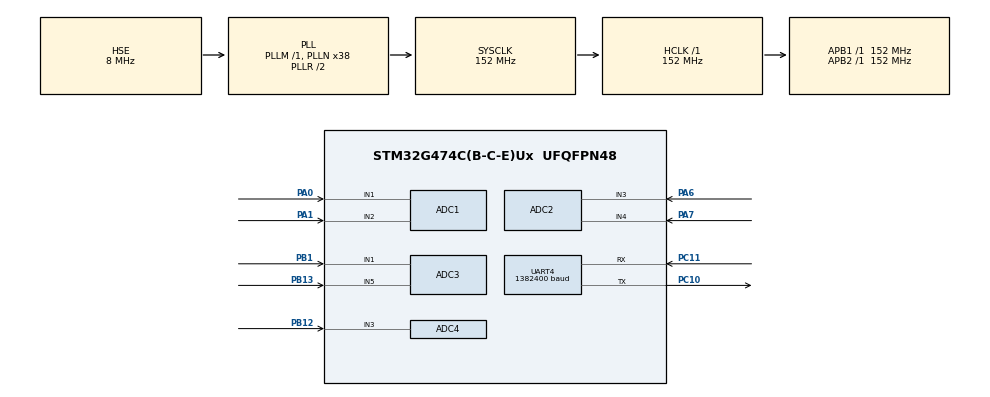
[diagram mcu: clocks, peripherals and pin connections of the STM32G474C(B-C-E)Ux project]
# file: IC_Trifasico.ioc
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ADC1.Channel-0\#ChannelRegularConversion=ADC_CHANNEL_1
ADC1.Channel-1\#ChannelRegularConversion=ADC_CHANNEL_2
ADC1.DMAContinuousRequests=ENABLE
ADC1.ExternalTrigConv=ADC_EXTERNALTRIG_T1_TRGO
ADC1.NbrOfConversion=2
ADC1.NbrOfConversionFlag=1
ADC1.OffsetNumber-0\#ChannelRegularConversion=ADC_OFFSET_NONE
ADC1.OffsetNumber-1\#ChannelRegularConversion=ADC_OFFSET_NONE
ADC1.Rank-0\#ChannelRegularConversion=1
ADC1.Rank-1\#ChannelRegularConversion=2
ADC1.SamplingTime-0\#ChannelRegularConversion=ADC_SAMPLETIME_24CYCLES_5
ADC1.SamplingTime-1\#ChannelRegularConversion=ADC_SAMPLETIME_24CYCLES_5
ADC1.master=1
ADC2.Channel-0\#ChannelRegularConversion=ADC_CHANNEL_3
ADC2.Channel-1\#ChannelRegularConversion=ADC_CHANNEL_4
ADC2.DMAContinuousRequests=ENABLE
ADC2.ExternalTrigConv=ADC_EXTERNALTRIG_T1_TRGO
ADC2.NbrOfConversion=2
ADC2.NbrOfConversionFlag=1
ADC2.OffsetNumber-0\#ChannelRegularConversion=ADC_OFFSET_NONE
ADC2.OffsetNumber-1\#ChannelRegularConversion=ADC_OFFSET_NONE
ADC2.Rank-0\#ChannelRegularConversion=1
ADC2.Rank-1\#ChannelRegularConversion=2
ADC2.SamplingTime-0\#ChannelRegularConversion=ADC_SAMPLETIME_24CYCLES_5
ADC2.SamplingTime-1\#ChannelRegularConversion=ADC_SAMPLETIME_24CYCLES_5
ADC3.Channel-0\#ChannelRegularConversion=ADC_CHANNEL_1
ADC3.Channel-1\#ChannelRegularConversion=ADC_CHANNEL_5
ADC3.DMAContinuousRequests=ENABLE
ADC3.ExternalTrigConv=ADC_EXTERNALTRIG_T1_TRGO
ADC3.NbrOfConversion=2
ADC3.NbrOfConversionFlag=1
ADC3.OffsetNumber-0\#ChannelRegularConversion=ADC_OFFSET_NONE
ADC3.OffsetNumber-1\#ChannelRegularConversion=ADC_OFFSET_NONE
ADC3.Rank-0\#ChannelRegularConversion=1
ADC3.Rank-1\#ChannelRegularConversion=2
ADC3.SamplingTime-0\#ChannelRegularConversion=ADC_SAMPLETIME_24CYCLES_5
ADC3.SamplingTime-1\#ChannelRegularConversion=ADC_SAMPLETIME_24CYCLES_5
ADC3.master=1
ADC4.Channel-0\#ChannelRegularConversion=ADC_CHANNEL_3
ADC4.DMAContinuousRequests=ENABLE
ADC4.ExternalTrigConv=ADC_EXTERNALTRIG_T1_TRGO
ADC4.NbrOfConversionFlag=1
ADC4.OffsetNumber-0\#ChannelRegularConversion=ADC_OFFSET_NONE
ADC4.Rank-0\#ChannelRegularConversion=1
ADC4.SamplingTime-0\#ChannelRegularConversion=ADC_SAMPLETIME_2CYCLES_5
Dma.ADC1.1.Direction=DMA_PERIPH_TO_MEMORY
Dma.ADC1.1.EventEnable=DISABLE
Dma.ADC1.1.Instance=DMA1_Channel2
Dma.ADC1.1.MemDataAlignment=DMA_MDATAALIGN_HALFWORD
Dma.ADC1.1.MemInc=DMA_MINC_ENABLE
Dma.ADC1.1.Mode=DMA_CIRCULAR
Dma.ADC1.1.PeriphDataAlignment=DMA_PDATAALIGN_HALFWORD
Dma.ADC1.1.PeriphInc=DMA_PINC_DISABLE
Dma.ADC1.1.Polarity=HAL_DMAMUX_REQ_GEN_RISING
Dma.ADC1.1.Priority=DMA_PRIORITY_HIGH
Dma.ADC1.1.RequestNumber=1
Dma.ADC1.1.SignalID=NONE
Dma.ADC1.1.SyncEnable=DISABLE
Dma.ADC1.1.SyncPolarity=HAL_DMAMUX_SYNC_NO_EVENT
Dma.ADC1.1.SyncRequestNumber=1
Dma.ADC1.1.SyncSignalID=NONE
Dma.ADC2.2.Direction=DMA_PERIPH_TO_MEMORY
Dma.ADC2.2.EventEnable=DISABLE
Dma.ADC2.2.Instance=DMA1_Channel3
Dma.ADC2.2.MemDataAlignment=DMA_MDATAALIGN_HALFWORD
Dma.ADC2.2.MemInc=DMA_MINC_ENABLE
Dma.ADC2.2.Mode=DMA_CIRCULAR
Dma.ADC2.2.PeriphDataAlignment=DMA_PDATAALIGN_HALFWORD
Dma.ADC2.2.PeriphInc=DMA_PINC_DISABLE
Dma.ADC2.2.Polarity=HAL_DMAMUX_REQ_GEN_RISING
Dma.ADC2.2.Priority=DMA_PRIORITY_HIGH
Dma.ADC2.2.RequestNumber=1
Dma.ADC2.2.SignalID=NONE
Dma.ADC2.2.SyncEnable=DISABLE
Dma.ADC2.2.SyncPolarity=HAL_DMAMUX_SYNC_NO_EVENT
Dma.ADC2.2.SyncRequestNumber=1
Dma.ADC2.2.SyncSignalID=NONE
Dma.ADC3.0.Direction=DMA_PERIPH_TO_MEMORY
Dma.ADC3.0.EventEnable=DISABLE
Dma.ADC3.0.Instance=DMA1_Channel1
Dma.ADC3.0.MemDataAlignment=DMA_MDATAALIGN_HALFWORD
Dma.ADC3.0.MemInc=DMA_MINC_ENABLE
Dma.ADC3.0.Mode=DMA_CIRCULAR
Dma.ADC3.0.PeriphDataAlignment=DMA_PDATAALIGN_HALFWORD
Dma.ADC3.0.PeriphInc=DMA_PINC_DISABLE
Dma.ADC3.0.Polarity=HAL_DMAMUX_REQ_GEN_RISING
Dma.ADC3.0.Priority=DMA_PRIORITY_HIGH
Dma.ADC3.0.RequestNumber=1
Dma.ADC3.0.SignalID=NONE
Dma.ADC3.0.SyncEnable=DISABLE
Dma.ADC3.0.SyncPolarity=HAL_DMAMUX_SYNC_NO_EVENT
Dma.ADC3.0.SyncRequestNumber=1
Dma.ADC3.0.SyncSignalID=NONE
Dma.ADC4.3.Direction=DMA_PERIPH_TO_MEMORY
Dma.ADC4.3.EventEnable=DISABLE
Dma.ADC4.3.Instance=DMA1_Channel4
Dma.ADC4.3.MemDataAlignment=DMA_MDATAALIGN_HALFWORD
Dma.ADC4.3.MemInc=DMA_MINC_ENABLE
Dma.ADC4.3.Mode=DMA_CIRCULAR
Dma.ADC4.3.PeriphDataAlignment=DMA_PDATAALIGN_HALFWORD
Dma.ADC4.3.PeriphInc=DMA_PINC_DISABLE
Dma.ADC4.3.Polarity=HAL_DMAMUX_REQ_GEN_RISING
Dma.ADC4.3.Priority=DMA_PRIORITY_HIGH
Dma.ADC4.3.RequestNumber=1
Dma.ADC4.3.SignalID=NONE
Dma.ADC4.3.SyncEnable=DISABLE
Dma.ADC4.3.SyncPolarity=HAL_DMAMUX_SYNC_NO_EVENT
Dma.ADC4.3.SyncRequestNumber=1
Dma.ADC4.3.SyncSignalID=NONE
Dma.Request0=ADC3
Dma.Request1=ADC1
Dma.Request2=ADC2
Dma.Request3=ADC4
Dma.Request4=UART4_TX
Dma.UART4_TX.4.Direction=DMA_MEMORY_TO_PERIPH
Dma.UART4_TX.4.EventEnable=DISABLE
Dma.UART4_TX.4.Instance=DMA2_Channel1
Dma.UART4_TX.4.MemDataAlignment=DMA_MDATAALIGN_BYTE
Dma.UART4_TX.4.MemInc=DMA_MINC_ENABLE
Dma.UART4_TX.4.Mode=DMA_CIRCULAR
Dma.UART4_TX.4.PeriphDataAlignment=DMA_PDATAALIGN_BYTE
Dma.UART4_TX.4.PeriphInc=DMA_PINC_DISABLE
Dma.UART4_TX.4.Polarity=HAL_DMAMUX_REQ_GEN_RISING
Dma.UART4_TX.4.Priority=DMA_PRIORITY_VERY_HIGH
Dma.UART4_TX.4.RequestNumber=1
Dma.UART4_TX.4.SignalID=NONE
Dma.UART4_TX.4.SyncEnable=DISABLE
Dma.UART4_TX.4.SyncPolarity=HAL_DMAMUX_SYNC_NO_EVENT
Dma.UART4_TX.4.SyncRequestNumber=1
Dma.UART4_TX.4.SyncSignalID=NONE
Mcu.Family=STM32G4
Mcu.Name=STM32G474C(B-C-E)Ux
Mcu.Package=UFQFPN48
NVIC.DMA1_Channel1_IRQn=true\:0\:0\:false\:false\:true\:false\:true\:true
NVIC.DMA1_Channel2_IRQn=true\:0\:0\:false\:false\:true\:false\:true\:true
NVIC.DMA1_Channel3_IRQn=true\:0\:0\:false\:false\:true\:false\:true\:true
NVIC.DMA1_Channel4_IRQn=true\:0\:0\:false\:false\:true\:false\:true\:true
NVIC.DMA2_Channel1_IRQn=true\:0\:0\:false\:false\:true\:false\:true\:true
NVIC.PriorityGroup=NVIC_PRIORITYGROUP_4
PA0.Mode=IN1-Single-Ended
PA0.Signal=ADC1_IN1
PA1.Mode=IN2-Single-Ended
PA1.Signal=ADC1_IN2
PA6.Mode=IN3-Single-Ended
PA6.Signal=ADC2_IN3
PA7.Mode=IN4-Single-Ended
PA7.Signal=ADC2_IN4
PB1.Mode=IN1-Single-Ended
PB1.Signal=ADC3_IN1
PB12.Mode=IN3-Single-Ended
PB12.Signal=ADC4_IN3
PB13.Mode=IN5-Single-Ended
PB13.Signal=ADC3_IN5
PC10.GPIO_Speed=GPIO_SPEED_FREQ_VERY_HIGH
PC10.Mode=Asynchronous
PC10.Signal=UART4_TX
PC11.Mode=Asynchronous
PC11.Signal=UART4_RX
PF0-OSC_IN.Mode=HSE-External-Oscillator
PF0-OSC_IN.Signal=RCC_OSC_IN
PF1-OSC_OUT.Mode=HSE-External-Oscillator
PF1-OSC_OUT.Signal=RCC_OSC_OUT
ProjectManager.HeapSize=0x200
ProjectManager.StackSize=0x400
ProjectManager.TargetToolchain=CMake
RCC.ADC12Freq_Value=152000000
RCC.ADC345Freq_Value=152000000
RCC.AHBFreq_Value=152000000
RCC.APB1Freq_Value=152000000
RCC.APB1TimFreq_Value=152000000
RCC.APB2Freq_Value=152000000
RCC.APB2TimFreq_Value=152000000
RCC.CortexFreq_Value=152000000
RCC.EXTERNAL_CLOCK_VALUE=12288000
RCC.HCLKFreq_Value=152000000
RCC.HSE_VALUE=8000000
RCC.HSI48_VALUE=48000000
RCC.HSI_VALUE=16000000
RCC.LSE_VALUE=32768
RCC.PLLN=38
RCC.PLLSourceVirtual=RCC_PLLSOURCE_HSE
RCC.SYSCLKFreq_VALUE=152000000
RCC.SYSCLKSource=RCC_SYSCLKSOURCE_PLLCLK
RCC.USBFreq_Value=152000000
RCC.VCOOutputFreq_Value=304000000
TIM1.TIM_MasterOutputTrigger=TIM_TRGO_UPDATE
TIM1.TIM_MasterSlaveMode=TIM_MASTERSLAVEMODE_DISABLE
UART4.BaudRate=1382400
VP_CORDIC_VS_CORDIC.Mode=CORDIC_Activate
VP_SYS_VS_DBSignals.Mode=DisableDeadBatterySignals
VP_TIM1_VS_ClockSourceINT.Mode=Internal
board=custom

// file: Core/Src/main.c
/* USER CODE BEGIN Header */
/**
  ******************************************************************************
  * @file           : main.c
  * @brief          : Main program body - Optimized Version
  ******************************************************************************
  * OPTIMIZATION NOTES:
  * - Consolidated redundant timestamp variables into unified tracking
  * - Created configuration tables for ADC management to reduce code duplication
  * - Unified ADC callback processing with single function handling all instances
  * - Consolidated error handling with table-driven approach
  * - Simplified frequency and phase calculation logic
  * - Reduced repetitive ADC initialization and monitoring code
  ******************************************************************************
  * @attention
  *
  * Copyright (c) 2025 STMicroelectronics.
  * All rights reserved.
  *
  * This software is licensed under terms that can be found in the LICENSE file
  * in the root directory of this software component.
  * If no LICENSE file comes with this software, it is provided AS-IS.
  *
  ******************************************************************************
  */
/* USER CODE END Header */
#include "main.h"

/* USER CODE BEGIN Includes */
#include <string.h>
#include <math.h>
#include <stdbool.h>
#include <stdio.h>
/* USER CODE END Includes */

/* USER CODE BEGIN PD */

#define TWO_PI_F  6.28318530718f
#define FS_F      7680.0f     // sampling rate (Hz)
#define F0_HZ     60.0f       // nominal line frequency (Hz)
/* USER CODE END PD */

/* USER CODE BEGIN PM */
// --- Defines para buffers e filas ---
#define FS_HZ               7680u
#define CYCLE_SAMPLES       128u          // 1 ciclo @ 60 Hz
#define IEC12C_SAMPLES      1536u         // 12 ciclos (IEC 200 ms)
#define DMA_TRIG_HALF       128u          // amostras por meia-interrupt de DMA
#define FRAME_BYTES         250
#define TXQ_SLOTS           96            // 96*250 = 24.0 kB buffer (ajuste se quiser)

typedef enum { CH_VA=0, CH_VB, CH_VC, CH_IA, CH_IB, CH_IC, CH_IN, CH_COUNT } acq_channel_t;
// Buffers DMA intercalados por ADC (half x2, canais x N)
static uint16_t adc1_dma[2 * 2 * DMA_TRIG_HALF]; // ADC1: Va, Ia
static uint16_t adc2_dma[2 * 2 * DMA_TRIG_HALF]; // ADC2: Vb, Ib
static uint16_t adc3_dma[2 * 2 * DMA_TRIG_HALF]; // ADC3: Vc, Ic
static uint16_t adc4_dma[2 * 1 * DMA_TRIG_HALF]; // ADC4: In

static volatile uint32_t adc1_cb_count = 0;
static volatile uint32_t adc2_cb_count = 0;
static volatile uint32_t adc3_cb_count = 0;
static volatile uint32_t adc4_cb_count = 0;

typedef struct {
  uint16_t cycle[CYCLE_SAMPLES];
  uint16_t iec12[IEC12C_SAMPLES];
  uint16_t i_cycle, i_iec;
  uint32_t seq_cycle, seq_iec12;
} acq_buf_t;
static acq_buf_t chbuf[CH_COUNT];

// Fila de transmissão UART4 DMA (frames de 200 B)
static uint8_t  txq[TXQ_SLOTS][FRAME_BYTES];
static volatile uint16_t tx_head=0, tx_tail=0;
static volatile uint8_t  tx_dma_busy=0;

// Different headers for different data types and channels
static const uint8_t HDR_CYCLE_VA[2] = {0xAA, 0x01}; // Voltage A - 1 cycle data
static const uint8_t HDR_CYCLE_VB[2] = {0xAA, 0x02}; // Voltage B - 1 cycle data
static const uint8_t HDR_CYCLE_VC[2] = {0xAA, 0x03}; // Voltage C - 1 cycle data
static const uint8_t HDR_CYCLE_IA[2] = {0xAA, 0x11}; // Current A - 1 cycle data
static const uint8_t HDR_CYCLE_IB[2] = {0xAA, 0x12}; // Current B - 1 cycle data
static const uint8_t HDR_CYCLE_IC[2] = {0xAA, 0x13}; // Current C - 1 cycle data
static const uint8_t HDR_CYCLE_IN[2] = {0xAA, 0x1F}; // Neutral current - 1 cycle data
static const uint8_t HDR_IEC12[2]    = {0xAA, 0xFF}; // IEC 12-cycle data
static const uint8_t HDR_DEBUG[2]    = {0xAA, 0x00}; // Debug/status messages
static const uint8_t HDR_FREQ_INFO[2] = {0xAA, 0xF0}; // Frequency and timing info

static uint16_t seq16[CH_COUNT] = {0}; // todos os elementos inicializados com zero

// Unified timestamp tracking - removed redundant variables
static volatile uint32_t sample_tick = 0;           // Global sample counter (main reference)
static volatile uint32_t cycle_start_sample = 0;    // Sample when cycle starts
static volatile uint8_t  tick_overflow = 0;         // Overflow flag
static uint16_t freq_info_seq = 0;                  // Frequency info sequence

/* USER CODE END PM */

ADC_HandleTypeDef hadc1;
ADC_HandleTypeDef hadc2;
ADC_HandleTypeDef hadc3;
ADC_HandleTypeDef hadc4;
DMA_HandleTypeDef hdma_adc1;
DMA_HandleTypeDef hdma_adc2;
DMA_HandleTypeDef hdma_adc3;
DMA_HandleTypeDef hdma_adc4;

CORDIC_HandleTypeDef hcordic;

TIM_HandleTypeDef htim1;

UART_HandleTypeDef huart4;
DMA_HandleTypeDef hdma_uart4_tx;

void SystemClock_Config(void);
static void MX_GPIO_Init(void);
static void MX_DMA_Init(void);
static void MX_ADC3_Init(void);
static void MX_CORDIC_Init(void);
static void MX_TIM1_Init(void);
static void MX_ADC1_Init(void);
static void MX_ADC2_Init(void);
static void MX_ADC4_Init(void);
static void MX_UART4_Init(void);
/* USER CODE BEGIN PFP */

void TIM1_Config_TRGO_7680Hz(void);   // reconfigure TIM1 to 7.68 kHz TRGO

// PLL API
typedef struct {
  float kp, ki;
  float phase;        // [0, 2π)
  float omega;        // rad/sample
  float omega_nom;    // 2π * f0 / Fs
  float integ;        // integrator state
  float e_filt;       // LPF of phase detector
  float beta;         // LPF coeff ~ 2π*BW/Fs
  float omega_min;    // clamp
  float omega_max;    // clamp
} pll_t;

void pll_init(pll_t* p, float fs, float f0, float kp, float ki, float loop_bw_hz, float freq_pct);
bool pll_step(pll_t* p, float v_norm, float* out_phase);

// helpers
static inline float pll_inst_freq_hz(const pll_t* p) { return (p->omega * FS_F) / TWO_PI_F; }

// --- ADC → volts, then to per-unit (±1 if full-scale) ---
#define ADC_FULLSCALE_COUNTS 4095.0f
#define VREF_F                3.3f
#define VMID_F                1.65f      // calibrate per channel if needed

static inline float adc12_to_volts(uint16_t raw12) {
    return ( (float)raw12 * (VREF_F / ADC_FULLSCALE_COUNTS) );
}

// If you have a better measured mid-rail (per channel), pass it in instead of VMID_F
static inline float volts_to_norm(float v, float v_mid) {
    return (v - v_mid) / v_mid;          // full-scale sine → ~±1
}

// Drop-in replacement for your current helper
static inline float adc12_to_norm(uint16_t raw12) {
    const float v = adc12_to_volts(raw12);
    return volts_to_norm(v, VMID_F);
}
/* USER CODE END PFP */

/* USER CODE BEGIN 0 */
/* ===== CORDIC sine using Q31 ===== */
extern CORDIC_HandleTypeDef hcordic;

static inline float wrap_2pi(float x){
  if (x >= TWO_PI_F) x -= TWO_PI_F;
  if (x <  0.0f)     x += TWO_PI_F;
  return x;
}

static inline float cordic_sin(float angle_rad)
{
  float a = angle_rad;
  if (a >  (float)M_PI) a -= TWO_PI_F;
  if (a <= -(float)M_PI) a += TWO_PI_F;

  int32_t in_q31  = (int32_t)(a * (2147483648.0f / (float)M_PI)); // rad * 2^31/π
  int32_t out_q31 = 0;
  HAL_CORDIC_Calculate(&hcordic, &in_q31, &out_q31, 1, 1);
  return ((float)out_q31) / 2147483648.0f; // ~[-1,1)
}

// You already have cordic_sin(); this gives cos via a +π/2 shift
static inline float cordic_cos(float angle_rad){
  return cordic_sin(angle_rad + (float)M_PI_2);
}

/* ===== PLL implementation ===== */
// fs [Hz], f0 [Hz], kp/ki per-sample gains,
// loop_bw_hz ~ 10..30 for grids, freq_pct e.g. 0.08 (=±8%)
void pll_init(pll_t* p, float fs, float f0, float kp, float ki,
              float loop_bw_hz, float freq_pct)
{
  p->kp = kp; p->ki = ki;
  p->phase = 0.0f;
  p->integ = 0.0f;
  p->e_filt = 0.0f;
  p->omega_nom = TWO_PI_F * (f0 / fs);
  p->omega     = p->omega_nom;
  p->beta      = (float)(2.0 * M_PI) * (loop_bw_hz / fs);  // IIR LPF coeff
  if (p->beta > 0.5f) p->beta = 0.5f;                      // sanity
  float wspan  = p->omega_nom * freq_pct;
  p->omega_min = p->omega_nom - wspan;
  p->omega_max = p->omega_nom + wspan;
}

// returns true on wrap (new cycle)
bool pll_step(pll_t* p, float v_norm, float* out_phase)
{
  float prev = p->phase;

  // Proper synchronous detector (quadrature): e ≈ sin(phase_error)
  float e  = v_norm * cordic_cos(p->phase);

  // LPF the mixer output to remove double-frequency term
  p->e_filt += p->beta * (e - p->e_filt);

  // PI + anti-windup
  p->integ += p->e_filt;
  // clamp integrator (units of "e", not rad)
  if (p->integ >  9.2f) p->integ =  9.2f;
  if (p->integ < -9.2f) p->integ = -9.2f;

  // frequency correction
  p->omega = p->omega_nom + p->kp * p->e_filt + p->ki * p->integ;
  if (p->omega > p->omega_max) p->omega = p->omega_max;
  if (p->omega < p->omega_min) p->omega = p->omega_min;

  // integrate phase
  p->phase = wrap_2pi(p->phase + p->omega);

  if (out_phase) *out_phase = p->phase;
  return (p->phase < prev);
}

/* ===== Global PLLs (debug-visible) ===== */
pll_t pllA;   // use with VA
pll_t pllB;   // use with VB
pll_t pllC;   // use with VC

/* ===== TIM1 → TRGO @ 7.68 kHz =====
   Rebuilds TIM1 with ~1 MHz tick (easy ARR) and TRGO=UPDATE */
void TIM1_Config_TRGO_7680Hz(void)
{
  RCC_ClkInitTypeDef clk_cfg; uint32_t flash_lat;
  HAL_RCC_GetClockConfig(&clk_cfg, &flash_lat);

  // TIM1 is on APB2; timer clock doubles when APB2 prescaler != 1
  uint32_t pclk2  = HAL_RCC_GetPCLK2Freq();
  uint32_t timclk = (clk_cfg.APB2CLKDivider == RCC_HCLK_DIV1) ? pclk2 : (pclk2 * 2U);

  const uint32_t target_tick = 1000000UL; // 1 MHz
  uint32_t psc  = (timclk + target_tick - 1U) / target_tick;
  if (psc == 0U) psc = 1U;
  uint32_t tick = timclk / psc;

  const uint32_t FS = 7680U;
  uint32_t arr = (uint32_t)((tick + (FS/2U)) / FS);
  if (arr < 1U) arr = 1U;

  TIM_ClockConfigTypeDef  sClock = {0};
  TIM_MasterConfigTypeDef sM     = {0};

  htim1.Instance               = TIM1;
  htim1.Init.Prescaler         = (uint16_t)(psc  - 1U);
  htim1.Init.CounterMode       = TIM_COUNTERMODE_UP;
  htim1.Init.Period            = (uint32_t)(arr  - 1U);
  htim1.Init.ClockDivision     = TIM_CLOCKDIVISION_DIV1;
  htim1.Init.RepetitionCounter = 0;
  htim1.Init.AutoReloadPreload = TIM_AUTORELOAD_PRELOAD_ENABLE;
  if (HAL_TIM_Base_Init(&htim1) != HAL_OK) { Error_Handler(); }

  sClock.ClockSource = TIM_CLOCKSOURCE_INTERNAL;
  if (HAL_TIM_ConfigClockSource(&htim1, &sClock) != HAL_OK) { Error_Handler(); }

  sM.MasterOutputTrigger  = TIM_TRGO_UPDATE;
  sM.MasterOutputTrigger2 = TIM_TRGO2_RESET;
  sM.MasterSlaveMode      = TIM_MASTERSLAVEMODE_DISABLE;
  if (HAL_TIMEx_MasterConfigSynchronization(&htim1, &sM) != HAL_OK) { Error_Handler(); }
}

static inline void pack12_2in3(uint16_t a, uint16_t b, uint8_t* dst3)
{
  a &= 0x0FFFu; b &= 0x0FFFu;
  dst3[0] = (uint8_t)(a >> 4);
  dst3[1] = (uint8_t)((a & 0x0Fu) << 4) | (uint8_t)(b >> 8);
  dst3[2] = (uint8_t)(b & 0xFFu);
}

static inline uint16_t crc16_ccitt(const uint8_t* data, uint16_t len)
{
  uint16_t crc = 0xFFFFu;
  for (uint16_t i = 0; i < len; i++) {
    crc ^= (uint16_t)data[i] << 8;
    for (uint8_t b = 0; b < 8; b++)
      crc = (crc & 0x8000u) ? (uint16_t)((crc << 1) ^ 0x1021u) : (uint16_t)(crc << 1);
  }
  return crc;
}

/* ---- Ring buffer TX UART4 DMA ---- */
extern UART_HandleTypeDef huart4;
static inline uint16_t _inc16(uint16_t x){ return (uint16_t)((x+1u) % TXQ_SLOTS); }
static inline uint8_t  _empty(void){ return tx_head==tx_tail; }
static inline uint8_t  _full(void){ return _inc16(tx_head)==tx_tail; }

static void TX_Kick(void)
{
  __disable_irq();
  if (tx_dma_busy || _empty()) {
    __enable_irq();
    return;
  }
  tx_dma_busy = 1;
  __enable_irq();
  (void)HAL_UART_Transmit_DMA(&huart4, txq[tx_tail], FRAME_BYTES);
}
static void TX_Init(void) { tx_head = tx_tail = 0; tx_dma_busy = 0; }
static uint8_t TX_Push(const uint8_t frame[FRAME_BYTES])
{
  uint8_t ret = 0;
  __disable_irq();
  uint16_t nxt = _inc16(tx_head);
  if (nxt != tx_tail) {
    memcpy(txq[tx_head], frame, FRAME_BYTES);
    tx_head = nxt;
    ret = 1;
  }
  __enable_irq();
  TX_Kick();
  return ret;
}
static void TX_Pump(void) { TX_Kick(); }

// Helper function to get the correct header for each channel type
static const uint8_t* get_channel_header(acq_channel_t ch) {
  switch (ch) {
    case CH_VA: return HDR_CYCLE_VA;
    case CH_VB: return HDR_CYCLE_VB;
    case CH_VC: return HDR_CYCLE_VC;
    case CH_IA: return HDR_CYCLE_IA;
    case CH_IB: return HDR_CYCLE_IB;
    case CH_IC: return HDR_CYCLE_IC;
    case CH_IN: return HDR_CYCLE_IN;
    default:    return HDR_DEBUG;
  }
}

// Pack 32-bit value into 4 bytes (little-endian)
static inline void pack32(uint32_t val, uint8_t* dst) {
  dst[0] = (uint8_t)(val & 0xFF);
  dst[1] = (uint8_t)((val >> 8) & 0xFF);
  dst[2] = (uint8_t)((val >> 16) & 0xFF);
  dst[3] = (uint8_t)((val >> 24) & 0xFF);
}

// Pack float as 32-bit IEEE754 (little-endian)
static inline void pack_float(float val, uint8_t* dst) {
  union { float f; uint32_t u; } conv = { .f = val };
  pack32(conv.u, dst);
}

// Send frequency and timing information frame
static void send_freq_info(void) {
  uint8_t frame[FRAME_BYTES];
  uint16_t pos = 0;

  // Header
  frame[pos++] = HDR_FREQ_INFO[0];
  frame[pos++] = HDR_FREQ_INFO[1];

  // Current sample tick (4 bytes) - for synchronization
  pack32(sample_tick, &frame[pos]); pos += 4;

  // Overflow status (1 byte)
  frame[pos++] = tick_overflow;

  // Frequency measurements from all 3 PLLs (3 × 4 bytes = 12 bytes)
  pack_float(pll_inst_freq_hz(&pllA), &frame[pos]); pos += 4;
  pack_float(pll_inst_freq_hz(&pllB), &frame[pos]); pos += 4;
  pack_float(pll_inst_freq_hz(&pllC), &frame[pos]); pos += 4;

  // PLL phase information (3 × 4 bytes = 12 bytes)
  pack_float(pllA.phase, &frame[pos]); pos += 4;
  pack_float(pllB.phase, &frame[pos]); pos += 4;
  pack_float(pllC.phase, &frame[pos]); pos += 4;

  // Timestamp information (2 × 4 bytes = 8 bytes) - simplified
  pack32(sample_tick, &frame[pos]); pos += 4;
  pack32(cycle_start_sample, &frame[pos]); pos += 4;
  pack32(HAL_GetTick(), &frame[pos]); pos += 4; // System tick (ms)

  // ADC callback counts for diagnostics (4 × 4 bytes = 16 bytes)
  pack32(adc1_cb_count, &frame[pos]); pos += 4;
  pack32(adc2_cb_count, &frame[pos]); pos += 4;
  pack32(adc3_cb_count, &frame[pos]); pos += 4;
  pack32(adc4_cb_count, &frame[pos]); pos += 4;

  // Fill remaining space with system status info
  while (pos < FRAME_BYTES - 6) {
    frame[pos++] = 0x00; // Reserved for future use
  }

  // Sequence number
  frame[pos++] = (uint8_t)(freq_info_seq & 0xFF);
  frame[pos++] = (uint8_t)(freq_info_seq >> 8);
  freq_info_seq++;

  // Channel ID and reserved
  frame[pos++] = 0xF0; // Special ID for frequency info
  frame[pos++] = 0x00; // Reserved

  // CRC
  uint16_t crc = crc16_ccitt(frame, pos);
  frame[pos++] = (uint8_t)(crc >> 8);
  frame[pos++] = (uint8_t)(crc & 0xFF);

  if (pos == FRAME_BYTES) (void)TX_Push(frame);
}

/* ---- Aquisição ---- */
extern ADC_HandleTypeDef hadc1, hadc2, hadc3, hadc4;
extern TIM_HandleTypeDef htim1;

static inline void push_sample(acq_channel_t ch, uint16_t s, uint8_t advance_tick)
{
  acq_buf_t* b = &chbuf[ch];
  s &= 0x0FFFu;

  // Advance global tick only once per TIM1 trigger (not per channel)
  if (advance_tick) {
    uint32_t prev = sample_tick;
    sample_tick++;
    if (sample_tick == 0 && prev == 0xFFFFFFFFu) tick_overflow = 1;
  }

  // Step the PLL only on voltage channels
  if (ch == CH_VA) {
    float v = adc12_to_norm(s);
    (void)pll_step(&pllA, v, NULL);
  } else if (ch == CH_VB) {
    float v = adc12_to_norm(s);
    (void)pll_step(&pllB, v, NULL);
  } else if (ch == CH_VC) {
    float v = adc12_to_norm(s);
    (void)pll_step(&pllC, v, NULL);
  }

  // Janela de 1 ciclo (128)
  b->cycle[b->i_cycle++] = s;
  if (b->i_cycle >= CYCLE_SAMPLES) {
    b->i_cycle = 0; b->seq_cycle++;

    // Record sample number when cycle starts
    cycle_start_sample = sample_tick;

    // Monta frame 250 B deste canal e envia com header específico do canal
    uint8_t frame[FRAME_BYTES]; uint16_t pos=0;
    const uint8_t* hdr = get_channel_header(ch);
    frame[pos++] = hdr[0]; frame[pos++] = hdr[1];

    // Pack sample number at cycle start (4 bytes) - primary identifier
    pack32(cycle_start_sample, &frame[pos]); pos += 4;

    // Pack overflow flag (1 byte) - critical synchronization info
    frame[pos++] = tick_overflow;
    if (tick_overflow) {
      tick_overflow = 0; // Clear flag after including in frame
    }

    // Pack timestamp for synchronization (4 bytes)
    pack32(cycle_start_sample, &frame[pos]); pos += 4;

    // Pack all 128 samples (128 samples = 192 bytes when packed 2-in-3)
    for (uint16_t i = 0; i < CYCLE_SAMPLES; i += 2) {
      pack12_2in3(b->cycle[i], b->cycle[i+1], &frame[pos]); pos += 3;
    }

    // Get frequency for this channel
    float channel_freq;
    if (ch == CH_VA) {
      channel_freq = pll_inst_freq_hz(&pllA);
    } else if (ch == CH_VB) {
      channel_freq = pll_inst_freq_hz(&pllB);
    } else if (ch == CH_VC) {
      channel_freq = pll_inst_freq_hz(&pllC);
    } else {
      // For current channels, use average frequency
      channel_freq = (pll_inst_freq_hz(&pllA) + pll_inst_freq_hz(&pllB) + pll_inst_freq_hz(&pllC)) / 3.0f;
    }
    pack_float(channel_freq, &frame[pos]); pos += 4;

    // Add phase information (4 bytes)
    float channel_phase = 0.0f;
    if (ch == CH_VA) channel_phase = pllA.phase;
    else if (ch == CH_VB) channel_phase = pllB.phase;
    else if (ch == CH_VC) channel_phase = pllC.phase;
    pack_float(channel_phase, &frame[pos]); pos += 4;

    // Fill remaining space before footer
    while (pos < FRAME_BYTES - 6) {
      frame[pos++] = 0x00; // Reserved for future use
    }

    uint16_t sseq = seq16[ch]++;
    frame[pos++] = (uint8_t)(sseq & 0xFF);
    frame[pos++] = (uint8_t)(sseq >> 8);
    frame[pos++] = (uint8_t)ch; // Channel ID in reserved byte
    frame[pos++] = 0x00; // reserved
    uint16_t crc = crc16_ccitt(frame, pos);
    frame[pos++] = (uint8_t)(crc >> 8);
    frame[pos++] = (uint8_t)(crc & 0xFF);
    if (pos == FRAME_BYTES) (void)TX_Push(frame);

    // Send frequency info every 10 cycles (roughly every 167ms at 60Hz)
    static uint16_t freq_counter = 0;
    if (ch == CH_VA && (++freq_counter >= 10)) {
      freq_counter = 0;
      send_freq_info();
    }
  }

  // Janela IEC (12 ciclos, 1536) — opcional: use no PC
  b->iec12[b->i_iec++] = s;
  if (b->i_iec >= IEC12C_SAMPLES) {
    b->i_iec = 0; b->seq_iec12++;
    // poderia sinalizar aqui se quiser exportar blocos de 200 ms
  }
}

static void demux_block(const uint16_t* blk, uint16_t samples_per_half,
                        const acq_channel_t* map, uint8_t nmap)
{
  for (uint16_t i = 0; i < samples_per_half; i++) {
    // Advance tick with first channel only (once per sampling instant)
    push_sample(map[0], blk[i*nmap + 0], 1);
    // Process remaining channels without advancing tick
    for (uint8_t k = 1; k < nmap; k++) {
      push_sample(map[k], blk[i*nmap + k], 0);
    }
  }
}
/* USER CODE END 0 */

int main(void)
{

  /* MCU Configuration--------------------------------------------------------*/

  /* Reset of all peripherals, Initializes the Flash interface and the Systick. */
  HAL_Init();

  /* Configure the system clock */
  SystemClock_Config();

  /* Initialize all configured peripherals */
  MX_GPIO_Init();
  MX_DMA_Init();
  MX_ADC3_Init();
  MX_CORDIC_Init();
  MX_TIM1_Init();
  MX_ADC1_Init();
  MX_ADC2_Init();
  MX_ADC4_Init();
  MX_UART4_Init();
  /* USER CODE BEGIN 2 */

  // Calibrate all ADCs in a loop
  ADC_HandleTypeDef* adcs[] = {&hadc1, &hadc2, &hadc3, &hadc4};
  for (int i = 0; i < 4; i++) {
    HAL_ADCEx_Calibration_Start(adcs[i], ADC_SINGLE_ENDED);
  }

  // Reconfigure TIM1 to exact 7.68 kHz TRGO (overrides CubeMX defaults)
  TIM1_Config_TRGO_7680Hz();

  // Inicia fila TX
  TX_Init();

  // Send a simple test message first to verify UART is working
  uint8_t test_msg[] = "UART4 Test - STM32 Starting...\r\n";
  HAL_UART_Transmit(&huart4, test_msg, sizeof(test_msg)-1, 1000);

  // Start the trigger timer first
  HAL_TIM_Base_Start(&htim1);

  // Start ADC DMAs with unified configuration
  HAL_StatusTypeDef adc_status[4];
  const uint16_t dma_sizes[] = {2u * 2u * DMA_TRIG_HALF, 2u * 2u * DMA_TRIG_HALF,
                                2u * 2u * DMA_TRIG_HALF, 2u * 1u * DMA_TRIG_HALF};
  uint32_t* dma_buffers[] = {(uint32_t*)adc1_dma, (uint32_t*)adc2_dma,
                             (uint32_t*)adc3_dma, (uint32_t*)adc4_dma};

  for (int i = 0; i < 4; i++) {
    adc_status[i] = HAL_ADC_Start_DMA(adcs[i], dma_buffers[i], dma_sizes[i]);
  }

  // Send unified debug info
  uint8_t debug_msg[120];
  sprintf((char*)debug_msg, "ADC Start Status: 1=%d 2=%d 3=%d 4=%d\r\n",
          adc_status[0], adc_status[1], adc_status[2], adc_status[3]);
  HAL_UART_Transmit(&huart4, debug_msg, strlen((char*)debug_msg), 1000);

  // Also send ADC register status for debugging
  sprintf((char*)debug_msg, "ADC1_CFGR=0x%08lX ADC2_CFGR=0x%08lX\r\n", ADC1->CFGR, ADC2->CFGR);
  HAL_UART_Transmit(&huart4, debug_msg, strlen((char*)debug_msg), 1000);
  sprintf((char*)debug_msg, "ADC3_CFGR=0x%08lX ADC4_CFGR=0x%08lX\r\n", ADC3->CFGR, ADC4->CFGR);
  HAL_UART_Transmit(&huart4, debug_msg, strlen((char*)debug_msg), 1000);

  // Init the three PLLs (visible in debugger; you can tweak kp/ki live)
  // Start conservative; you can increase kp a bit if lock is sluggish
  const float KP = 0.023137f;      // proportional (per-sample)
  const float KI = 0.00026773f;   // integral (per-sample)
  const float BW = 20.0f;        // loop LPF bandwidth [Hz]
  const float FPCT = 0.08f;      // allow ±8% freq excursion

  pll_init(&pllA, FS_F, F0_HZ, KP, KI, BW, FPCT);
  pll_init(&pllB, FS_F, F0_HZ, KP, KI, BW, FPCT);
  pll_init(&pllC, FS_F, F0_HZ, KP, KI, BW, FPCT);

  // Test manual software trigger to see which ADCs respond
  HAL_Delay(1000);  // Wait a bit
  uint8_t test_trigger[] = "Testing software triggers...\r\n";
  HAL_UART_Transmit(&huart4, test_trigger, strlen((char*)test_trigger), 1000);

  // Reset counters

  // Manual software trigger test (simplified)
  for (int i = 0; i < 4; i++) {
    HAL_ADC_Start(adcs[i]);
    HAL_ADC_PollForConversion(adcs[i], 100);
    HAL_ADC_Stop(adcs[i]);
  }

  sprintf((char*)debug_msg, "Manual test - ADC values: 1=%d 2=%d 3=%d 4=%d\r\n",
          (int)HAL_ADC_GetValue(&hadc1), (int)HAL_ADC_GetValue(&hadc2),
          (int)HAL_ADC_GetValue(&hadc3), (int)HAL_ADC_GetValue(&hadc4));
  HAL_UART_Transmit(&huart4, debug_msg, strlen((char*)debug_msg), 1000);

  /* USER CODE END 2 */

  /* Infinite loop */
  /* USER CODE BEGIN WHILE */
  static uint32_t heartbeat = 0;
  static uint32_t last_counts[4] = {0};
  volatile uint32_t* cb_counts[] = {&adc1_cb_count, &adc2_cb_count, &adc3_cb_count, &adc4_cb_count};

  while (1)
  {
    /* USER CODE END WHILE */

    /* USER CODE BEGIN 3 */

    // Monitor ADC activity and restart if stopped
    if (++heartbeat >= 500000) {  // Check every ~0.5 seconds
      heartbeat = 0;

      // Check if any ADC counters have stopped incrementing
      uint8_t adc_stuck = 0;
      for (int i = 0; i < 4; i++) {
        if (*cb_counts[i] == last_counts[i]) adc_stuck |= (1 << i);
      }

      // Send status message
      uint8_t status_msg[150];
      sprintf((char*)status_msg, "ADC Status: 1=%lu 2=%lu 3=%lu 4=%lu Stuck=0x%02X\r\n",
              *cb_counts[0], *cb_counts[1], *cb_counts[2], *cb_counts[3], adc_stuck);
      HAL_UART_Transmit(&huart4, status_msg, strlen((char*)status_msg), 1000);

      // If any ADC is stuck, try to recover
      if (adc_stuck) {
        uint8_t recovery_msg[] = "ADC Recovery: Restarting stuck ADCs...\r\n";
        HAL_UART_Transmit(&huart4, recovery_msg, sizeof(recovery_msg)-1, 1000);

        // Restart stuck ADCs
        for (int i = 0; i < 4; i++) {
          if (adc_stuck & (1 << i)) {
            HAL_ADC_Stop_DMA(adcs[i]);
            HAL_Delay(10);
            HAL_ADC_Start_DMA(adcs[i], dma_buffers[i], dma_sizes[i]);
          }
        }
      }

      // Update last counts for next check
      for (int i = 0; i < 4; i++) {
        last_counts[i] = *cb_counts[i];
      }
    }

    // Keep TX running
    TX_Pump();

  }
  /* USER CODE END 3 */
}

void SystemClock_Config(void)
{
  RCC_OscInitTypeDef RCC_OscInitStruct = {0};
  RCC_ClkInitTypeDef RCC_ClkInitStruct = {0};

  /** Configure the main internal regulator output voltage
  */
  HAL_PWREx_ControlVoltageScaling(PWR_REGULATOR_VOLTAGE_SCALE1_BOOST);

  /** Initializes the RCC Oscillators according to the specified parameters
  * in the RCC_OscInitTypeDef structure.
  */
  RCC_OscInitStruct.OscillatorType = RCC_OSCILLATORTYPE_HSE;
  RCC_OscInitStruct.HSEState = RCC_HSE_ON;
  RCC_OscInitStruct.PLL.PLLState = RCC_PLL_ON;
  RCC_OscInitStruct.PLL.PLLSource = RCC_PLLSOURCE_HSE;
  RCC_OscInitStruct.PLL.PLLM = RCC_PLLM_DIV1;
  RCC_OscInitStruct.PLL.PLLN = 38;
  RCC_OscInitStruct.PLL.PLLP = RCC_PLLP_DIV2;
  RCC_OscInitStruct.PLL.PLLQ = RCC_PLLQ_DIV2;
  RCC_OscInitStruct.PLL.PLLR = RCC_PLLR_DIV2;
  if (HAL_RCC_OscConfig(&RCC_OscInitStruct) != HAL_OK)
  {
    Error_Handler();
  }

  /** Initializes the CPU, AHB and APB buses clocks
  */
  RCC_ClkInitStruct.ClockType = RCC_CLOCKTYPE_HCLK|RCC_CLOCKTYPE_SYSCLK
                              |RCC_CLOCKTYPE_PCLK1|RCC_CLOCKTYPE_PCLK2;
  RCC_ClkInitStruct.SYSCLKSource = RCC_SYSCLKSOURCE_PLLCLK;
  RCC_ClkInitStruct.AHBCLKDivider = RCC_SYSCLK_DIV1;
  RCC_ClkInitStruct.APB1CLKDivider = RCC_HCLK_DIV1;
  RCC_ClkInitStruct.APB2CLKDivider = RCC_HCLK_DIV1;

  if (HAL_RCC_ClockConfig(&RCC_ClkInitStruct, FLASH_LATENCY_4) != HAL_OK)
  {
    Error_Handler();
  }
}

static void MX_ADC1_Init(void)
{

  ADC_MultiModeTypeDef multimode = {0};
  ADC_ChannelConfTypeDef sConfig = {0};

  /** Common config
  */
  hadc1.Instance = ADC1;
  hadc1.Init.ClockPrescaler = ADC_CLOCK_SYNC_PCLK_DIV4;
  hadc1.Init.Resolution = ADC_RESOLUTION_12B;
  hadc1.Init.DataAlign = ADC_DATAALIGN_RIGHT;
  hadc1.Init.GainCompensation = 0;
  hadc1.Init.ScanConvMode = ADC_SCAN_ENABLE;
  hadc1.Init.EOCSelection = ADC_EOC_SINGLE_CONV;
  hadc1.Init.LowPowerAutoWait = DISABLE;
  hadc1.Init.ContinuousConvMode = DISABLE;
  hadc1.Init.NbrOfConversion = 2;
  hadc1.Init.DiscontinuousConvMode = DISABLE;
  hadc1.Init.ExternalTrigConv = ADC_EXTERNALTRIG_T1_TRGO;
  hadc1.Init.ExternalTrigConvEdge = ADC_EXTERNALTRIGCONVEDGE_RISING;
  hadc1.Init.DMAContinuousRequests = ENABLE;
  hadc1.Init.Overrun = ADC_OVR_DATA_PRESERVED;
  hadc1.Init.OversamplingMode = DISABLE;
  if (HAL_ADC_Init(&hadc1) != HAL_OK)
  {
    Error_Handler();
  }

  /** Configure the ADC multi-mode
  */
  multimode.Mode = ADC_MODE_INDEPENDENT;
  if (HAL_ADCEx_MultiModeConfigChannel(&hadc1, &multimode) != HAL_OK)
  {
    Error_Handler();
  }

  /** Configure Regular Channel
  */
  sConfig.Channel = ADC_CHANNEL_1;
  sConfig.Rank = ADC_REGULAR_RANK_1;
  sConfig.SamplingTime = ADC_SAMPLETIME_24CYCLES_5;
  sConfig.SingleDiff = ADC_SINGLE_ENDED;
  sConfig.OffsetNumber = ADC_OFFSET_NONE;
  sConfig.Offset = 0;
  if (HAL_ADC_ConfigChannel(&hadc1, &sConfig) != HAL_OK)
  {
    Error_Handler();
  }

  /** Configure Regular Channel
  */
  sConfig.Channel = ADC_CHANNEL_2;
  sConfig.Rank = ADC_REGULAR_RANK_2;
  if (HAL_ADC_ConfigChannel(&hadc1, &sConfig) != HAL_OK)
  {
    Error_Handler();
  }

}

static void MX_ADC2_Init(void)
{

  ADC_ChannelConfTypeDef sConfig = {0};

  /** Common config
  */
  hadc2.Instance = ADC2;
  hadc2.Init.ClockPrescaler = ADC_CLOCK_SYNC_PCLK_DIV4;
  hadc2.Init.Resolution = ADC_RESOLUTION_12B;
  hadc2.Init.DataAlign = ADC_DATAALIGN_RIGHT;
  hadc2.Init.GainCompensation = 0;
  hadc2.Init.ScanConvMode = ADC_SCAN_ENABLE;
  hadc2.Init.EOCSelection = ADC_EOC_SINGLE_CONV;
  hadc2.Init.LowPowerAutoWait = DISABLE;
  hadc2.Init.ContinuousConvMode = DISABLE;
  hadc2.Init.NbrOfConversion = 2;
  hadc2.Init.DiscontinuousConvMode = DISABLE;
  hadc2.Init.ExternalTrigConv = ADC_EXTERNALTRIG_T1_TRGO;
  hadc2.Init.ExternalTrigConvEdge = ADC_EXTERNALTRIGCONVEDGE_RISING;
  hadc2.Init.DMAContinuousRequests = ENABLE;
  hadc2.Init.Overrun = ADC_OVR_DATA_PRESERVED;
  hadc2.Init.OversamplingMode = DISABLE;
  if (HAL_ADC_Init(&hadc2) != HAL_OK)
  {
    Error_Handler();
  }

  /** Configure Regular Channel
  */
  sConfig.Channel = ADC_CHANNEL_3;
  sConfig.Rank = ADC_REGULAR_RANK_1;
  sConfig.SamplingTime = ADC_SAMPLETIME_24CYCLES_5;
  sConfig.SingleDiff = ADC_SINGLE_ENDED;
  sConfig.OffsetNumber = ADC_OFFSET_NONE;
  sConfig.Offset = 0;
  if (HAL_ADC_ConfigChannel(&hadc2, &sConfig) != HAL_OK)
  {
    Error_Handler();
  }

  /** Configure Regular Channel
  */
  sConfig.Channel = ADC_CHANNEL_4;
  sConfig.Rank = ADC_REGULAR_RANK_2;
  if (HAL_ADC_ConfigChannel(&hadc2, &sConfig) != HAL_OK)
  {
    Error_Handler();
  }

}

static void MX_ADC3_Init(void)
{

  ADC_MultiModeTypeDef multimode = {0};
  ADC_ChannelConfTypeDef sConfig = {0};

  /** Common config
  */
  hadc3.Instance = ADC3;
  hadc3.Init.ClockPrescaler = ADC_CLOCK_SYNC_PCLK_DIV4;
  hadc3.Init.Resolution = ADC_RESOLUTION_12B;
  hadc3.Init.DataAlign = ADC_DATAALIGN_RIGHT;
  hadc3.Init.GainCompensation = 0;
  hadc3.Init.ScanConvMode = ADC_SCAN_ENABLE;
  hadc3.Init.EOCSelection = ADC_EOC_SINGLE_CONV;
  hadc3.Init.LowPowerAutoWait = DISABLE;
  hadc3.Init.ContinuousConvMode = DISABLE;
  hadc3.Init.NbrOfConversion = 2;
  hadc3.Init.DiscontinuousConvMode = DISABLE;
  hadc3.Init.ExternalTrigConv = ADC_EXTERNALTRIG_T1_TRGO;
  hadc3.Init.ExternalTrigConvEdge = ADC_EXTERNALTRIGCONVEDGE_RISING;
  hadc3.Init.DMAContinuousRequests = ENABLE;
  hadc3.Init.Overrun = ADC_OVR_DATA_PRESERVED;
  hadc3.Init.OversamplingMode = DISABLE;
  if (HAL_ADC_Init(&hadc3) != HAL_OK)
  {
    Error_Handler();
  }

  /** Configure the ADC multi-mode
  */
  multimode.Mode = ADC_MODE_INDEPENDENT;
  if (HAL_ADCEx_MultiModeConfigChannel(&hadc3, &multimode) != HAL_OK)
  {
    Error_Handler();
  }

  /** Configure Regular Channel
  */
  sConfig.Channel = ADC_CHANNEL_1;
  sConfig.Rank = ADC_REGULAR_RANK_1;
  sConfig.SamplingTime = ADC_SAMPLETIME_24CYCLES_5;
  sConfig.SingleDiff = ADC_SINGLE_ENDED;
  sConfig.OffsetNumber = ADC_OFFSET_NONE;
  sConfig.Offset = 0;
  if (HAL_ADC_ConfigChannel(&hadc3, &sConfig) != HAL_OK)
  {
    Error_Handler();
  }

  /** Configure Regular Channel
  */
  sConfig.Channel = ADC_CHANNEL_5;
  sConfig.Rank = ADC_REGULAR_RANK_2;
  if (HAL_ADC_ConfigChannel(&hadc3, &sConfig) != HAL_OK)
  {
    Error_Handler();
  }

}

static void MX_ADC4_Init(void)
{

  ADC_ChannelConfTypeDef sConfig = {0};

  /** Common config
  */
  hadc4.Instance = ADC4;
  hadc4.Init.ClockPrescaler = ADC_CLOCK_SYNC_PCLK_DIV4;
  hadc4.Init.Resolution = ADC_RESOLUTION_12B;
  hadc4.Init.DataAlign = ADC_DATAALIGN_RIGHT;
  hadc4.Init.GainCompensation = 0;
  hadc4.Init.ScanConvMode = ADC_SCAN_DISABLE;
  hadc4.Init.EOCSelection = ADC_EOC_SINGLE_CONV;
  hadc4.Init.LowPowerAutoWait = DISABLE;
  hadc4.Init.ContinuousConvMode = DISABLE;
  hadc4.Init.NbrOfConversion = 1;
  hadc4.Init.DiscontinuousConvMode = DISABLE;
  hadc4.Init.ExternalTrigConv = ADC_EXTERNALTRIG_T1_TRGO;
  hadc4.Init.ExternalTrigConvEdge = ADC_EXTERNALTRIGCONVEDGE_RISING;
  hadc4.Init.DMAContinuousRequests = ENABLE;
  hadc4.Init.Overrun = ADC_OVR_DATA_PRESERVED;
  hadc4.Init.OversamplingMode = DISABLE;
  if (HAL_ADC_Init(&hadc4) != HAL_OK)
  {
    Error_Handler();
  }

  /** Configure Regular Channel
  */
  sConfig.Channel = ADC_CHANNEL_3;
  sConfig.Rank = ADC_REGULAR_RANK_1;
  sConfig.SamplingTime = ADC_SAMPLETIME_2CYCLES_5;
  sConfig.SingleDiff = ADC_SINGLE_ENDED;
  sConfig.OffsetNumber = ADC_OFFSET_NONE;
  sConfig.Offset = 0;
  if (HAL_ADC_ConfigChannel(&hadc4, &sConfig) != HAL_OK)
  {
    Error_Handler();
  }

}

static void MX_CORDIC_Init(void)
{

  hcordic.Instance = CORDIC;
  if (HAL_CORDIC_Init(&hcordic) != HAL_OK)
  {
    Error_Handler();
  }

}

static void MX_TIM1_Init(void)
{

  TIM_ClockConfigTypeDef sClockSourceConfig = {0};
  TIM_MasterConfigTypeDef sMasterConfig = {0};

  htim1.Instance = TIM1;
  htim1.Init.Prescaler = 0;
  htim1.Init.CounterMode = TIM_COUNTERMODE_UP;
  htim1.Init.Period = 65535;
  htim1.Init.ClockDivision = TIM_CLOCKDIVISION_DIV1;
  htim1.Init.RepetitionCounter = 0;
  htim1.Init.AutoReloadPreload = TIM_AUTORELOAD_PRELOAD_DISABLE;
  if (HAL_TIM_Base_Init(&htim1) != HAL_OK)
  {
    Error_Handler();
  }
  sClockSourceConfig.ClockSource = TIM_CLOCKSOURCE_INTERNAL;
  if (HAL_TIM_ConfigClockSource(&htim1, &sClockSourceConfig) != HAL_OK)
  {
    Error_Handler();
  }
  sMasterConfig.MasterOutputTrigger = TIM_TRGO_UPDATE;
  sMasterConfig.MasterOutputTrigger2 = TIM_TRGO2_RESET;
  sMasterConfig.MasterSlaveMode = TIM_MASTERSLAVEMODE_DISABLE;
  if (HAL_TIMEx_MasterConfigSynchronization(&htim1, &sMasterConfig) != HAL_OK)
  {
    Error_Handler();
  }

}

static void MX_UART4_Init(void)
{

  huart4.Instance = UART4;
  huart4.Init.BaudRate = 1382400;
  huart4.Init.WordLength = UART_WORDLENGTH_8B;
  huart4.Init.StopBits = UART_STOPBITS_1;
  huart4.Init.Parity = UART_PARITY_NONE;
  huart4.Init.Mode = UART_MODE_TX_RX;
  huart4.Init.HwFlowCtl = UART_HWCONTROL_NONE;
  huart4.Init.OverSampling = UART_OVERSAMPLING_16;
  huart4.Init.OneBitSampling = UART_ONE_BIT_SAMPLE_DISABLE;
  huart4.Init.ClockPrescaler = UART_PRESCALER_DIV1;
  huart4.AdvancedInit.AdvFeatureInit = UART_ADVFEATURE_NO_INIT;
  if (HAL_UART_Init(&huart4) != HAL_OK)
  {
    Error_Handler();
  }
  if (HAL_UARTEx_SetTxFifoThreshold(&huart4, UART_TXFIFO_THRESHOLD_1_8) != HAL_OK)
  {
    Error_Handler();
  }
  if (HAL_UARTEx_SetRxFifoThreshold(&huart4, UART_RXFIFO_THRESHOLD_1_8) != HAL_OK)
  {
    Error_Handler();
  }
  if (HAL_UARTEx_DisableFifoMode(&huart4) != HAL_OK)
  {
    Error_Handler();
  }

}

static void MX_DMA_Init(void)
{

  /* DMA controller clock enable */
  __HAL_RCC_DMAMUX1_CLK_ENABLE();
  __HAL_RCC_DMA1_CLK_ENABLE();
  __HAL_RCC_DMA2_CLK_ENABLE();

  /* DMA interrupt init */
  /* DMA1_Channel1_IRQn interrupt configuration */
  HAL_NVIC_SetPriority(DMA1_Channel1_IRQn, 0, 0);
  HAL_NVIC_EnableIRQ(DMA1_Channel1_IRQn);
  /* DMA1_Channel2_IRQn interrupt configuration */
  HAL_NVIC_SetPriority(DMA1_Channel2_IRQn, 0, 0);
  HAL_NVIC_EnableIRQ(DMA1_Channel2_IRQn);
  /* DMA1_Channel3_IRQn interrupt configuration */
  HAL_NVIC_SetPriority(DMA1_Channel3_IRQn, 0, 0);
  HAL_NVIC_EnableIRQ(DMA1_Channel3_IRQn);
  /* DMA1_Channel4_IRQn interrupt configuration */
  HAL_NVIC_SetPriority(DMA1_Channel4_IRQn, 0, 0);
  HAL_NVIC_EnableIRQ(DMA1_Channel4_IRQn);
  /* DMA2_Channel1_IRQn interrupt configuration */
  HAL_NVIC_SetPriority(DMA2_Channel1_IRQn, 0, 0);
  HAL_NVIC_EnableIRQ(DMA2_Channel1_IRQn);

}

static void MX_GPIO_Init(void)
{

  /* GPIO Ports Clock Enable */
  __HAL_RCC_GPIOF_CLK_ENABLE();
  __HAL_RCC_GPIOA_CLK_ENABLE();
  __HAL_RCC_GPIOB_CLK_ENABLE();
  __HAL_RCC_GPIOC_CLK_ENABLE();

}

/* USER CODE BEGIN 4 */

// Debug counters to track ADC callbacks

// Unified ADC callback processing
typedef struct {
  ADC_TypeDef* instance;
  uint16_t* dma_buffer;
  volatile uint32_t* cb_count;
  const acq_channel_t* channel_map;
  uint8_t num_channels;
} adc_config_t;

static const adc_config_t adc_configs[4] = {
  {ADC1, adc1_dma, &adc1_cb_count, (const acq_channel_t[]){CH_VA, CH_IA}, 2},
  {ADC2, adc2_dma, &adc2_cb_count, (const acq_channel_t[]){CH_VB, CH_IB}, 2},
  {ADC3, adc3_dma, &adc3_cb_count, (const acq_channel_t[]){CH_VC, CH_IC}, 2},
  {ADC4, adc4_dma, &adc4_cb_count, (const acq_channel_t[]){CH_IN}, 1}
};

static void process_adc_callback(ADC_HandleTypeDef* hadc, uint16_t buffer_offset) {
  for (int i = 0; i < 4; i++) {
    if (hadc->Instance == adc_configs[i].instance) {
      (*adc_configs[i].cb_count)++;
      demux_block(&adc_configs[i].dma_buffer[buffer_offset],
                  DMA_TRIG_HALF, adc_configs[i].channel_map, adc_configs[i].num_channels);
      return;
    }
  }
}

void HAL_ADC_ConvHalfCpltCallback(ADC_HandleTypeDef* hadc)
{
  process_adc_callback(hadc, 0);
}

void HAL_ADC_ConvCpltCallback(ADC_HandleTypeDef* hadc)
{
  uint16_t offset = (hadc->Instance == ADC4) ? 1*DMA_TRIG_HALF : 2*DMA_TRIG_HALF;
  process_adc_callback(hadc, offset);
}

void HAL_UART_TxCpltCallback(UART_HandleTypeDef *huart)
{
  if (huart->Instance != UART4) return;
  __disable_irq();
  if (!_empty()) { tx_tail = _inc16(tx_tail); }
  tx_dma_busy = 0;
  __enable_irq();
  TX_Kick();
}

// Unified error handling
typedef struct {
  ADC_TypeDef* instance;
  ADC_HandleTypeDef* handle;
  uint32_t* dma_buffer;
  uint16_t buffer_size;
} adc_restart_config_t;

static const adc_restart_config_t restart_configs[4] = {
  {ADC1, &hadc1, (uint32_t*)adc1_dma, 2u * 2u * DMA_TRIG_HALF},
  {ADC2, &hadc2, (uint32_t*)adc2_dma, 2u * 2u * DMA_TRIG_HALF},
  {ADC3, &hadc3, (uint32_t*)adc3_dma, 2u * 2u * DMA_TRIG_HALF},
  {ADC4, &hadc4, (uint32_t*)adc4_dma, 2u * 1u * DMA_TRIG_HALF}
};

static void send_error_msg(const char* prefix, uint32_t instance, uint32_t error_code) {
  uint8_t error_msg[80];
  sprintf((char*)error_msg, "%s Error: Instance=0x%08lX ErrorCode=0x%08lX\r\n",
          prefix, instance, error_code);
  HAL_UART_Transmit(&huart4, error_msg, strlen((char*)error_msg), 1000);
}

static void restart_adc_by_instance(ADC_TypeDef* instance) {
  for (int i = 0; i < 4; i++) {
    if (restart_configs[i].instance == instance) {
      HAL_ADC_Stop_DMA(restart_configs[i].handle);
      HAL_Delay(10);
      HAL_ADC_Start_DMA(restart_configs[i].handle, restart_configs[i].dma_buffer,
                        restart_configs[i].buffer_size);
      break;
    }
  }
}

void HAL_ADC_ErrorCallback(ADC_HandleTypeDef *hadc)
{
  send_error_msg("ADC", (uint32_t)hadc->Instance, hadc->ErrorCode);
  restart_adc_by_instance(hadc->Instance);
}

void HAL_DMA_ErrorCallback(DMA_HandleTypeDef *hdma)
{
  send_error_msg("DMA", (uint32_t)hdma->Instance, hdma->ErrorCode);

  // Map DMA channels to ADC instances
  static const struct { DMA_Channel_TypeDef* dma; ADC_TypeDef* adc; } dma_to_adc[] = {
    {DMA1_Channel1, ADC3}, {DMA1_Channel2, ADC1},
    {DMA1_Channel3, ADC2}, {DMA1_Channel4, ADC4}
  };

  for (int i = 0; i < 4; i++) {
    if (hdma->Instance == dma_to_adc[i].dma) {
      restart_adc_by_instance(dma_to_adc[i].adc);
      break;
    }
  }
}

/* USER CODE END 4 */

void Error_Handler(void)
{
  __disable_irq();
  while (1)
  {
  }
}
